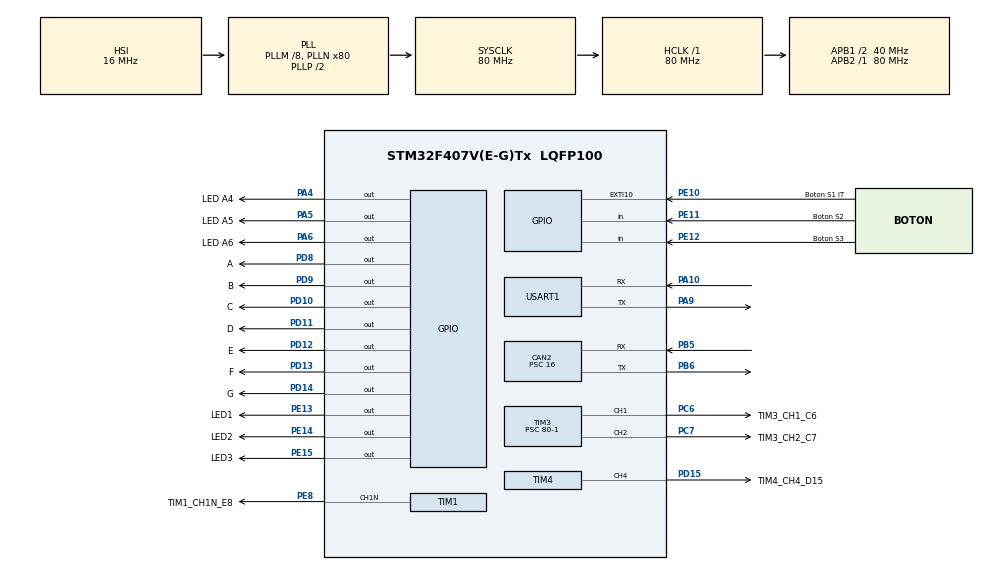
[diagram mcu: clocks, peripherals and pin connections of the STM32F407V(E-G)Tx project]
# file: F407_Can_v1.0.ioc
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CAN2.BS1=CAN_BS1_7TQ
CAN2.BS2=CAN_BS2_2TQ
CAN2.CalculateBaudRate=250000
CAN2.CalculateTimeBit=4000
CAN2.CalculateTimeQuantum=400.0
CAN2.Mode=CAN_MODE_NORMAL
CAN2.Prescaler=16
Mcu.Family=STM32F4
Mcu.Name=STM32F407V(E-G)Tx
Mcu.Package=LQFP100
NVIC.CAN2_RX0_IRQn=true\:0\:0\:false\:false\:true\:true\:true\:true
NVIC.EXTI15_10_IRQn=true\:1\:0\:true\:false\:true\:true\:true\:true
NVIC.PriorityGroup=NVIC_PRIORITYGROUP_4
NVIC.TIM8_TRG_COM_TIM14_IRQn=true\:0\:0\:false\:false\:true\:true\:true\:true
NVIC.TIM8_UP_TIM13_IRQn=true\:0\:0\:false\:false\:true\:true\:true\:true
NVIC.USART1_IRQn=true\:0\:0\:false\:false\:true\:true\:true\:true
PA10.Mode=Asynchronous
PA10.Signal=USART1_RX
PA13.Mode=Serial_Wire
PA13.Signal=SYS_JTMS-SWDIO
PA14.Mode=Serial_Wire
PA14.Signal=SYS_JTCK-SWCLK
PA4.GPIO_Label=LED A4
PA4.GPIO_PuPd=GPIO_PULLUP
PA4.Signal=GPIO_Output
PA5.GPIO_Label=LED A5
PA5.GPIO_PuPd=GPIO_PULLUP
PA5.Signal=GPIO_Output
PA6.GPIO_Label=LED A6
PA6.GPIO_PuPd=GPIO_PULLUP
PA6.Signal=GPIO_Output
PA9.Mode=Asynchronous
PA9.Signal=USART1_TX
PB5.Mode=CAN_Activate
PB5.Signal=CAN2_RX
PB6.Mode=CAN_Activate
PB6.Signal=CAN2_TX
PC6.GPIO_Label=TIM3_CH1_C6
PC6.Signal=S_TIM3_CH1
PC7.GPIO_Label=TIM3_CH2_C7
PC7.Signal=S_TIM3_CH2
PD10.GPIO_Label=C
PD10.GPIO_PuPd=GPIO_PULLDOWN
PD10.PinState=GPIO_PIN_SET
PD10.Signal=GPIO_Output
PD11.GPIO_Label=D
PD11.GPIO_PuPd=GPIO_PULLDOWN
PD11.PinState=GPIO_PIN_SET
PD11.Signal=GPIO_Output
PD12.GPIO_Label=E
PD12.GPIO_PuPd=GPIO_PULLDOWN
PD12.PinState=GPIO_PIN_SET
PD12.Signal=GPIO_Output
PD13.GPIO_Label=F
PD13.GPIO_ModeDefaultOutputPP=GPIO_MODE_OUTPUT_PP
PD13.GPIO_PuPd=GPIO_PULLDOWN
PD13.PinState=GPIO_PIN_SET
PD13.Signal=GPIO_Output
PD14.GPIO_Label=G
PD14.GPIO_PuPd=GPIO_PULLDOWN
PD14.PinState=GPIO_PIN_SET
PD14.Signal=GPIO_Output
PD15.GPIO_Label=TIM4_CH4_D15
PD15.Signal=S_TIM4_CH4
PD8.GPIO_Label=A
PD8.GPIO_ModeDefaultOutputPP=GPIO_MODE_OUTPUT_PP
PD8.GPIO_PuPd=GPIO_PULLUP
PD8.PinState=GPIO_PIN_RESET
PD8.Signal=GPIO_Output
PD9.GPIO_Label=B
PD9.GPIO_PuPd=GPIO_PULLUP
PD9.PinState=GPIO_PIN_RESET
PD9.Signal=GPIO_Output
PE10.GPIO_Label=Boton S1 IT
PE10.GPIO_ModeDefaultEXTI=GPIO_MODE_IT_FALLING
PE10.Signal=GPXTI10
PE11.GPIO_Label=Boton S2
PE11.Signal=GPIO_Input
PE12.GPIO_Label=Boton S3
PE12.Signal=GPIO_Input
PE13.GPIO_Label=LED1
PE13.GPIO_PuPd=GPIO_PULLUP
PE13.PinState=GPIO_PIN_RESET
PE13.Signal=GPIO_Output
PE14.GPIO_Label=LED2
PE14.GPIO_PuPd=GPIO_PULLUP
PE14.Signal=GPIO_Output
PE15.GPIO_Label=LED3
PE15.GPIO_PuPd=GPIO_PULLUP
PE15.Signal=GPIO_Output
PE8.GPIO_Label=TIM1_CH1N_E8
PE8.Mode=PWM Generation1 CH1N
PE8.Signal=TIM1_CH1N
ProjectManager.HeapSize=0x200
ProjectManager.StackSize=0x400
ProjectManager.TargetToolchain=STM32CubeIDE
RCC.48MHZClocksFreq_Value=40000000
RCC.AHBFreq_Value=80000000
RCC.APB1CLKDivider=RCC_HCLK_DIV2
RCC.APB1Freq_Value=40000000
RCC.APB1TimFreq_Value=80000000
RCC.APB2Freq_Value=80000000
RCC.APB2TimFreq_Value=80000000
RCC.CortexFreq_Value=80000000
RCC.HCLKFreq_Value=80000000
RCC.HSE_VALUE=25000000
RCC.HSI_VALUE=16000000
RCC.LSE_VALUE=32768
RCC.PLLM=8
RCC.PLLN=80
RCC.SYSCLKFreq_VALUE=80000000
RCC.SYSCLKSource=RCC_SYSCLKSOURCE_PLLCLK
RCC.VCOOutputFreq_Value=160000000
SH.S_TIM3_CH1.0=TIM3_CH1,PWM Generation1 CH1
SH.S_TIM3_CH2.0=TIM3_CH2,PWM Generation2 CH2
SH.S_TIM4_CH4.0=TIM4_CH4,PWM Generation4 CH4
TIM1.Channel-PWM\ Generation1\ CH1N=TIM_CHANNEL_1
TIM1.Period=1000-1
TIM1.Prescaler=80-1
TIM13.Period=10000
TIM13.Prescaler=8000-1
TIM14.Period=5000
TIM14.Prescaler=8000-1
TIM3.Channel-PWM\ Generation1\ CH1=TIM_CHANNEL_1
TIM3.Channel-PWM\ Generation2\ CH2=TIM_CHANNEL_2
TIM3.Period=1000-1
TIM3.Prescaler=80-1
TIM4.Channel-PWM\ Generation4\ CH4=TIM_CHANNEL_4
TIM4.Period=1000-1
TIM4.Prescaler=80-1
USART1.VirtualMode=VM_ASYNC
VP_TIM13_VS_ClockSourceINT.Mode=Enable_Timer
VP_TIM14_VS_ClockSourceINT.Mode=Enable_Timer
VP_TIM1_VS_ClockSourceINT.Mode=Internal
VP_TIM3_VS_ClockSourceINT.Mode=Internal
VP_TIM4_VS_ClockSourceINT.Mode=Internal
board=custom

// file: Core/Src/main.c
/* USER CODE BEGIN Header */
/**
  ******************************************************************************
  * @file           : main.c
  * @brief          : Main program body
  ******************************************************************************
  * @attention
  *
  * Copyright (c) 2024 STMicroelectronics.
  * All rights reserved.
  *
  * This software is licensed under terms that can be found in the LICENSE file
  * in the root directory of this software component.
  * If no LICENSE file comes with this software, it is provided AS-IS.
  *
  ******************************************************************************
  */
/* USER CODE END Header */
#include "main.h"

/* USER CODE BEGIN Includes */
#include "stdio.h"
#include "string.h"
/* USER CODE END Includes */

CAN_HandleTypeDef hcan2;

TIM_HandleTypeDef htim1;
TIM_HandleTypeDef htim3;
TIM_HandleTypeDef htim4;
TIM_HandleTypeDef htim13;
TIM_HandleTypeDef htim14;

UART_HandleTypeDef huart1;

/* USER CODE BEGIN PV */
uint8_t serial [16] = "\n Hola Mundo!! \r";
uint8_t UsartRxData [4] ;
uint8_t InterrupcionUsart [21] = "\nInterrupcion Masiva\r";
uint8_t contartoggle = 0;
char BufferEnvio [60];

//Cosas CAN
CAN_RxHeaderTypeDef CanRxHeader;
CAN_TxHeaderTypeDef canTxHeader;

uint8_t canReadData [8];
uint8_t canRxData [8];
uint8_t canTxData [8];
uint32_t canListTxData [8] =
		{
				0x00001,
				0x00002,
				0xe5001
		};

uint32_t canTxMailbox;
uint8_t canenviado [18] = "\nSe envio Msg CAN\r";
uint8_t CanError [27] = "\nNo se pudo enviar mensaje\r";
//char serial_test [60] = {"h","o","l","a"} //,0xff, 0xfa, 0x98, 0xff};

void HAL_CAN_RxFifo0MsgPendingCallback(CAN_HandleTypeDef *hcan)
	{
		HAL_CAN_GetRxMessage(hcan, CAN_RX_FIFO0, &CanRxHeader, canRxData);
		HAL_GPIO_TogglePin(LED1_GPIO_Port, LED1_Pin);

		// Mando el mensaje can por RS332
		/*sprintf(BufferEnvio, " PGN Recibido: Datos: %lX %X %X %X %X %X %X %X %X\r",
					  CanRxHeader.ExtId,
					  canRxData[0],
					  canRxData[1],
					  canRxData[2],
					  canRxData[3],
					  canRxData[4],
					  canRxData[5],
					  canRxData[6],
					  canRxData[7]); */
	}

/* USER CODE END PV */

void SystemClock_Config(void);
static void MX_GPIO_Init(void);
static void MX_USART1_UART_Init(void);
static void MX_CAN2_Init(void);
static void MX_TIM13_Init(void);
static void MX_TIM14_Init(void);
static void MX_TIM1_Init(void);
static void MX_TIM3_Init(void);
static void MX_TIM4_Init(void);

int main(void)
{

  /* MCU Configuration--------------------------------------------------------*/

  /* Reset of all peripherals, Initializes the Flash interface and the Systick. */
  HAL_Init();

  /* Configure the system clock */
  SystemClock_Config();

  /* Initialize all configured peripherals */
  MX_GPIO_Init();
  MX_USART1_UART_Init();
  MX_CAN2_Init();
  MX_TIM13_Init();
  MX_TIM14_Init();
  MX_TIM1_Init();
  MX_TIM3_Init();
  MX_TIM4_Init();
  /* USER CODE BEGIN 2 */
  HAL_CAN_Start(&hcan2);  // segun yo 	 agregue
  HAL_CAN_ActivateNotification(&hcan2, CAN_IT_RX_FIFO0_MSG_PENDING); // esta IT llama al callback
  HAL_UART_Receive_IT(&huart1, UsartRxData, sizeof(UsartRxData));

  //timmer
  HAL_TIM_Base_Start_IT(&htim13);
  HAL_TIM_Base_Start_IT(&htim14); // iniciamos el timer

  /* USER CODE END 2 */

  /* Infinite loop */
  /* USER CODE BEGIN WHILE */

  /*
  canRxData [0] = 0x10;
  canRxData [1] = 0xb8;
  canRxData [2] = 0xa2;
  canRxData [3] = 0x01;

  canRxData [4] = 0xff;
  canRxData [5] = 0xff;
  canRxData [6] = 0xff;
  canRxData [7] = 0xff;
  */

	HAL_GPIO_WritePin(LED_A4_GPIO_Port, LED_A4_Pin, GPIO_PIN_SET);
	HAL_GPIO_WritePin(LED_A5_GPIO_Port, LED_A5_Pin, GPIO_PIN_SET);
	HAL_GPIO_WritePin(LED_A6_GPIO_Port, LED_A6_Pin, GPIO_PIN_SET);

	uint8_t contador_display = 0;
	uint8_t display[10] = {0x3F, 0x06, 0x5B, 0x4F, 0x66, 0x6D, 0x7D, 0x07, 0x7F, 0x6F};

	void DisplayPort(uint8_t patron){

		    HAL_GPIO_WritePin(GPIOD, A_Pin, (((patron & 0x01) >> 0) & 0x01));
		    HAL_GPIO_WritePin(GPIOD, B_Pin, (((patron & 0x02) >> 1) & 0x01));
		    HAL_GPIO_WritePin(GPIOD, C_Pin, (((patron & 0x04) >> 2) & 0x01));
		    HAL_GPIO_WritePin(GPIOD, D_Pin, (((patron & 0x08) >> 3) & 0x01));
		    HAL_GPIO_WritePin(GPIOD, E_Pin, (((patron & 0x10) >> 4) & 0x01));
		    HAL_GPIO_WritePin(GPIOD, F_Pin, (((patron & 0x20) >> 5) & 0x01));
		    HAL_GPIO_WritePin(GPIOD, G_Pin, (((patron & 0x40) >> 6) & 0x01));
	}

	// PWM
	HAL_TIM_PWM_Start(&htim1, TIM_CHANNEL_1);  // Inicia el PWM // Inicia el canal principal
	HAL_TIM_PWM_Start(&htim3, TIM_CHANNEL_1);
	HAL_TIM_PWM_Start(&htim3, TIM_CHANNEL_2);
	HAL_TIM_PWM_Start(&htim4, TIM_CHANNEL_4);

	HAL_TIMEx_PWMN_Start(&htim1, TIM_CHANNEL_1); // Inicia el canal complementario

	uint32_t dutyCycle = 100;

	// Definiciones de pines RGB
	#define RED_PWM_PIN    TIM4_CH4_D15_Pin   	// Ejemplo: PE7
	#define GREEN_PWM_PIN  TIM3_CH1_C6_Pin  	// Ejemplo: PE8
	#define BLUE_PWM_PIN   TIM3_CH2_C7_Pin  	// Ejemplo: PB10
	int r = 100;
	int g = 200;
	int b = 100;

  while (1)
  {
	  // PWM

	  //funcional
	  /*__HAL_TIM_SET_COMPARE(&htim1, TIM_CHANNEL_1, dutyCycle);
	      // Puedes cambiar el valor de dutyCycle para ajustar el brillo del LED
	  HAL_Delay(500); // Pequeño retardo para evitar cambios bruscos
	  dutyCycle = 800;*/

	  	  for (int i = 0; i <= 1000; i += 10)
	      {
	        __HAL_TIM_SET_COMPARE(&htim1, TIM_CHANNEL_1, i);  // Ajusta el brillo
	        HAL_Delay(10);  // Pequeño retardo para ver el efecto
	      }

	      for (int i = 1000; i >= 0; i -= 10)
	      {
	        __HAL_TIM_SET_COMPARE(&htim1, TIM_CHANNEL_1, i);  // Ajusta el brillo
	        HAL_Delay(10);  // Pequeño retardo para ver el efecto
	      }

	  // PWM RGB

	      // Mapear valores RGB a PWM
	__HAL_TIM_SET_COMPARE(&htim3, TIM_CHANNEL_1, r);    // Rojo
	__HAL_TIM_SET_COMPARE(&htim3, TIM_CHANNEL_2, g);  // Verde
	__HAL_TIM_SET_COMPARE(&htim4, TIM_CHANNEL_4, b);   // Azul

	  // Diplay - Funcional ASC
	  // DisplayPort(display[contador_display]);
	  contador_display ++;
	  if (contador_display > 9){
		  contador_display = 0;
	  }

	  // trama de datos

	  canTxData [0] = 0x26;
	  canTxData [1] = 0x5C;
	  canTxData [2] = 0x03;
	  canTxData [3] = 0x00;
	  canTxData [4] = 0xff;
	  canTxData [5] = 0xff;
	  canTxData [6] = 0xff;
	  canTxData [7] = 0xff;

	  // Leds encendido apagado

	  //HAL_GPIO_TogglePin(LED1_GPIO_Port, LED1_Pin);
	  HAL_GPIO_TogglePin(LED2_GPIO_Port, LED2_Pin);
	  //HAL_GPIO_TogglePin(LED3_GPIO_Port, LED3_Pin);
	  //HAL_GPIO_TogglePin(LED_E7_GPIO_Port, LED_E7_Pin);
	  //HAL_GPIO_TogglePin(GPIOE, LED_E8_Pin);

	  //Boton S2
	  if (HAL_GPIO_ReadPin(Boton_S2_GPIO_Port, Boton_S2_Pin))
	  {
		  HAL_GPIO_TogglePin(LED1_GPIO_Port, LED1_Pin);
		  //HAL_GPIO_TogglePin(LED_A5_GPIO_Port, LED_A5_Pin);
		  //HAL_GPIO_WritePin(A_GPIO_Port, A_Pin, RESET);
		  //HAL_GPIO_WritePin(B_GPIO_Port, B_Pin, SET);
	  }

	  //USART
	  //HAL_UART_Transmit(&huart1, (char*)contartoggle, sizeof(contartoggle), 300);
	  //HAL_UART_Transmit(&huart1, serial, sizeof(serial), 300);
	  HAL_UART_Transmit(&huart1, (uint8_t*)0x98, 16, HAL_MAX_DELAY);

	  // convierto variable entero en texto // (char que recibe, "texto", Variable que convertimos en %d)
	  //sprintf(BufferEnvio, "\n Contar: %d\r", contartoggle);
	  //HAL_UART_Transmit (&huart1, (uint8_t*)BufferEnvio, strlen(BufferEnvio), HAL_MAX_DELAY); // sizeof(BufferLectura) = es si funcion no tambien

	  // envio de un byte
	  //sprintf(BufferEnvio, "\n El Byte 0 es: %X %X\r", canRxData[0],canRxData[1]); //%d convierte hex a Dec
	  //HAL_UART_Transmit (&huart1, (uint8_t*)BufferEnvio, strlen(BufferEnvio), HAL_MAX_DELAY); // sizeof(BufferLectura) = es si funcion no tambien

	  //Enviar CAN Si funciono.

	  HAL_CAN_AddTxMessage(&hcan2, &canTxHeader, canTxData, &canTxMailbox);

	  // Revisar si el conteo mensaje se envio
	  uint8_t ContarIntentoCan = 0;
	  while (HAL_CAN_IsTxMessagePending(&hcan2, canTxMailbox)) // si ya no hay mensajes pendientes se ejecuta el while
	  	  {
	  	  	  HAL_UART_Transmit (&huart1, canenviado, sizeof(canenviado), 300);
	  		  //HAL_Delay(300);

	  		  if (ContarIntentoCan == 3)
	  		  {
	  			  HAL_UART_Transmit (&huart1, CanError, sizeof(CanError), 300);
	  			  break;
	  		  }
	  		ContarIntentoCan++;
	  	  }

	  // Leer CAN, no ha funcionado

	  //HAL_CAN_GetRxMessage(&hcan1, canReadMailbox, &CANRxHeader, canReadData); // yo
	  //HAL_CAN_GetRxMessage(&hcan1, CAN_RX_FIFO0, &CANRxHeader, canReadData); // Video British lo leido se guarda en RxData

	  // Envio Lo que lei en can

	  /*  //mostrar solo data.
	  sprintf(BufferEnvio, "\n\n MSM CAN es: %X %X %X %X\r", canRxData[0],canRxData[1],canRxData[2],canRxData[3]); //%d convierte hex a Dec
	  HAL_UART_Transmit (&huart1, (uint8_t*)BufferEnvio, strlen(BufferEnvio), HAL_MAX_DELAY); // sizeof(BufferLectura) = es si funcion no tambien
	  */

	  sprintf(BufferEnvio, " El PGN Enviado: %lX ", canTxHeader.ExtId); //%d convierte hex a Dec
	  //HAL_UART_Transmit (&huart1, (uint8_t*)BufferEnvio, strlen(BufferEnvio), HAL_MAX_DELAY);

	  sprintf(BufferEnvio, " PGN Recibido: Datos: %lX %X %X %X %X %X %X %X %X\r",
			  CanRxHeader.ExtId,
			  canRxData[0],
			  canRxData[1],
			  canRxData[2],
			  canRxData[3],
			  canRxData[4],
			  canRxData[5],
			  canRxData[6],
			  canRxData[7]);

	  	  	  	  canRxData[0] = 0;
	  			  canRxData[1] = 0;
	  			  canRxData[2] = 0;
	  			  canRxData[3] = 0;
	  			  canRxData[4] = 0;
	  			  canRxData[5] = 0;
	  			  canRxData[6] = 0;
	  			  canRxData[7] = 0;

	  //HAL_UART_Transmit (&huart1, (uint8_t*)BufferEnvio, strlen(BufferEnvio), HAL_MAX_DELAY);

	  HAL_Delay(500);
	  contartoggle ++;

	  // ######## Envio de varios can

    /* USER CODE END WHILE */

  }
}

void SystemClock_Config(void)
{
  RCC_OscInitTypeDef RCC_OscInitStruct = {0};
  RCC_ClkInitTypeDef RCC_ClkInitStruct = {0};

  /** Configure the main internal regulator output voltage
  */
  __HAL_RCC_PWR_CLK_ENABLE();
  __HAL_PWR_VOLTAGESCALING_CONFIG(PWR_REGULATOR_VOLTAGE_SCALE1);

  /** Initializes the RCC Oscillators according to the specified parameters
  * in the RCC_OscInitTypeDef structure.
  */
  RCC_OscInitStruct.OscillatorType = RCC_OSCILLATORTYPE_HSI;
  RCC_OscInitStruct.HSIState = RCC_HSI_ON;
  RCC_OscInitStruct.HSICalibrationValue = RCC_HSICALIBRATION_DEFAULT;
  RCC_OscInitStruct.PLL.PLLState = RCC_PLL_ON;
  RCC_OscInitStruct.PLL.PLLSource = RCC_PLLSOURCE_HSI;
  RCC_OscInitStruct.PLL.PLLM = 8;
  RCC_OscInitStruct.PLL.PLLN = 80;
  RCC_OscInitStruct.PLL.PLLP = RCC_PLLP_DIV2;
  RCC_OscInitStruct.PLL.PLLQ = 4;
  if (HAL_RCC_OscConfig(&RCC_OscInitStruct) != HAL_OK)
  {
    Error_Handler();
  }

  /** Initializes the CPU, AHB and APB buses clocks
  */
  RCC_ClkInitStruct.ClockType = RCC_CLOCKTYPE_HCLK|RCC_CLOCKTYPE_SYSCLK
                              |RCC_CLOCKTYPE_PCLK1|RCC_CLOCKTYPE_PCLK2;
  RCC_ClkInitStruct.SYSCLKSource = RCC_SYSCLKSOURCE_PLLCLK;
  RCC_ClkInitStruct.AHBCLKDivider = RCC_SYSCLK_DIV1;
  RCC_ClkInitStruct.APB1CLKDivider = RCC_HCLK_DIV2;
  RCC_ClkInitStruct.APB2CLKDivider = RCC_HCLK_DIV1;

  if (HAL_RCC_ClockConfig(&RCC_ClkInitStruct, FLASH_LATENCY_2) != HAL_OK)
  {
    Error_Handler();
  }
}

static void MX_CAN2_Init(void)
{

  hcan2.Instance = CAN2;
  hcan2.Init.Prescaler = 16;
  hcan2.Init.Mode = CAN_MODE_NORMAL;
  hcan2.Init.SyncJumpWidth = CAN_SJW_1TQ;
  hcan2.Init.TimeSeg1 = CAN_BS1_7TQ;
  hcan2.Init.TimeSeg2 = CAN_BS2_2TQ;
  hcan2.Init.TimeTriggeredMode = DISABLE;
  hcan2.Init.AutoBusOff = DISABLE;
  hcan2.Init.AutoWakeUp = DISABLE;
  hcan2.Init.AutoRetransmission = DISABLE;
  hcan2.Init.ReceiveFifoLocked = DISABLE;
  hcan2.Init.TransmitFifoPriority = DISABLE;
  if (HAL_CAN_Init(&hcan2) != HAL_OK)
  {
    Error_Handler();
  }
  /* USER CODE BEGIN CAN2_Init 2 */

    // ####### Trama de datos FULL HD
    canTxHeader.DLC = 0x08;
    //canTxHeader.ExtId = 0x18fee000; //temp aceite
    canTxHeader.ExtId = 0x18fec100; // Odometro HR.
    canTxHeader.IDE = CAN_ID_EXT;
    canTxHeader.RTR = CAN_RTR_DATA;
    //canTxHeader.StdId = 0x00; // lo comento
    canTxHeader.TransmitGlobalTime = DISABLE;

    // ####### Configutacion del filtro.
    CAN_FilterTypeDef canfilterconfig;

    canfilterconfig.FilterActivation = CAN_FILTER_ENABLE;
    canfilterconfig.FilterBank = 10;  //  ver si es de can2
    canfilterconfig.FilterFIFOAssignment = CAN_RX_FIFO0; //ver si este es para CAN2
    canfilterconfig.FilterIdHigh =0;
    canfilterconfig.FilterIdLow =0x0000;
    canfilterconfig.FilterMaskIdHigh = 0;
    canfilterconfig.FilterMaskIdLow = 0x0000;
    canfilterconfig.FilterMode = CAN_FILTERMODE_IDMASK;
    canfilterconfig.FilterScale = CAN_FILTERSCALE_32BIT;
    canfilterconfig.SlaveStartFilterBank =0; // ver si es de can2

    HAL_CAN_ConfigFilter(&hcan2, &canfilterconfig); //asigno el filtro a la funcion.

  /* USER CODE END CAN2_Init 2 */

}

static void MX_TIM1_Init(void)
{

  TIM_ClockConfigTypeDef sClockSourceConfig = {0};
  TIM_MasterConfigTypeDef sMasterConfig = {0};
  TIM_OC_InitTypeDef sConfigOC = {0};
  TIM_BreakDeadTimeConfigTypeDef sBreakDeadTimeConfig = {0};

  htim1.Instance = TIM1;
  htim1.Init.Prescaler = 80-1;
  htim1.Init.CounterMode = TIM_COUNTERMODE_UP;
  htim1.Init.Period = 1000-1;
  htim1.Init.ClockDivision = TIM_CLOCKDIVISION_DIV1;
  htim1.Init.RepetitionCounter = 0;
  htim1.Init.AutoReloadPreload = TIM_AUTORELOAD_PRELOAD_DISABLE;
  if (HAL_TIM_Base_Init(&htim1) != HAL_OK)
  {
    Error_Handler();
  }
  sClockSourceConfig.ClockSource = TIM_CLOCKSOURCE_INTERNAL;
  if (HAL_TIM_ConfigClockSource(&htim1, &sClockSourceConfig) != HAL_OK)
  {
    Error_Handler();
  }
  if (HAL_TIM_PWM_Init(&htim1) != HAL_OK)
  {
    Error_Handler();
  }
  sMasterConfig.MasterOutputTrigger = TIM_TRGO_RESET;
  sMasterConfig.MasterSlaveMode = TIM_MASTERSLAVEMODE_DISABLE;
  if (HAL_TIMEx_MasterConfigSynchronization(&htim1, &sMasterConfig) != HAL_OK)
  {
    Error_Handler();
  }
  sConfigOC.OCMode = TIM_OCMODE_PWM1;
  sConfigOC.Pulse = 0;
  sConfigOC.OCPolarity = TIM_OCPOLARITY_HIGH;
  sConfigOC.OCNPolarity = TIM_OCNPOLARITY_HIGH;
  sConfigOC.OCFastMode = TIM_OCFAST_DISABLE;
  sConfigOC.OCIdleState = TIM_OCIDLESTATE_RESET;
  sConfigOC.OCNIdleState = TIM_OCNIDLESTATE_RESET;
  if (HAL_TIM_PWM_ConfigChannel(&htim1, &sConfigOC, TIM_CHANNEL_1) != HAL_OK)
  {
    Error_Handler();
  }
  sBreakDeadTimeConfig.OffStateRunMode = TIM_OSSR_DISABLE;
  sBreakDeadTimeConfig.OffStateIDLEMode = TIM_OSSI_DISABLE;
  sBreakDeadTimeConfig.LockLevel = TIM_LOCKLEVEL_OFF;
  sBreakDeadTimeConfig.DeadTime = 0;
  sBreakDeadTimeConfig.BreakState = TIM_BREAK_DISABLE;
  sBreakDeadTimeConfig.BreakPolarity = TIM_BREAKPOLARITY_HIGH;
  sBreakDeadTimeConfig.AutomaticOutput = TIM_AUTOMATICOUTPUT_DISABLE;
  if (HAL_TIMEx_ConfigBreakDeadTime(&htim1, &sBreakDeadTimeConfig) != HAL_OK)
  {
    Error_Handler();
  }
  HAL_TIM_MspPostInit(&htim1);

}

static void MX_TIM3_Init(void)
{

  TIM_ClockConfigTypeDef sClockSourceConfig = {0};
  TIM_MasterConfigTypeDef sMasterConfig = {0};
  TIM_OC_InitTypeDef sConfigOC = {0};

  htim3.Instance = TIM3;
  htim3.Init.Prescaler = 80-1;
  htim3.Init.CounterMode = TIM_COUNTERMODE_UP;
  htim3.Init.Period = 1000-1;
  htim3.Init.ClockDivision = TIM_CLOCKDIVISION_DIV1;
  htim3.Init.AutoReloadPreload = TIM_AUTORELOAD_PRELOAD_DISABLE;
  if (HAL_TIM_Base_Init(&htim3) != HAL_OK)
  {
    Error_Handler();
  }
  sClockSourceConfig.ClockSource = TIM_CLOCKSOURCE_INTERNAL;
  if (HAL_TIM_ConfigClockSource(&htim3, &sClockSourceConfig) != HAL_OK)
  {
    Error_Handler();
  }
  if (HAL_TIM_PWM_Init(&htim3) != HAL_OK)
  {
    Error_Handler();
  }
  sMasterConfig.MasterOutputTrigger = TIM_TRGO_RESET;
  sMasterConfig.MasterSlaveMode = TIM_MASTERSLAVEMODE_DISABLE;
  if (HAL_TIMEx_MasterConfigSynchronization(&htim3, &sMasterConfig) != HAL_OK)
  {
    Error_Handler();
  }
  sConfigOC.OCMode = TIM_OCMODE_PWM1;
  sConfigOC.Pulse = 0;
  sConfigOC.OCPolarity = TIM_OCPOLARITY_HIGH;
  sConfigOC.OCFastMode = TIM_OCFAST_DISABLE;
  if (HAL_TIM_PWM_ConfigChannel(&htim3, &sConfigOC, TIM_CHANNEL_1) != HAL_OK)
  {
    Error_Handler();
  }
  if (HAL_TIM_PWM_ConfigChannel(&htim3, &sConfigOC, TIM_CHANNEL_2) != HAL_OK)
  {
    Error_Handler();
  }
  HAL_TIM_MspPostInit(&htim3);

}

static void MX_TIM4_Init(void)
{

  TIM_ClockConfigTypeDef sClockSourceConfig = {0};
  TIM_MasterConfigTypeDef sMasterConfig = {0};
  TIM_OC_InitTypeDef sConfigOC = {0};

  htim4.Instance = TIM4;
  htim4.Init.Prescaler = 80-1;
  htim4.Init.CounterMode = TIM_COUNTERMODE_UP;
  htim4.Init.Period = 1000-1;
  htim4.Init.ClockDivision = TIM_CLOCKDIVISION_DIV1;
  htim4.Init.AutoReloadPreload = TIM_AUTORELOAD_PRELOAD_DISABLE;
  if (HAL_TIM_Base_Init(&htim4) != HAL_OK)
  {
    Error_Handler();
  }
  sClockSourceConfig.ClockSource = TIM_CLOCKSOURCE_INTERNAL;
  if (HAL_TIM_ConfigClockSource(&htim4, &sClockSourceConfig) != HAL_OK)
  {
    Error_Handler();
  }
  if (HAL_TIM_PWM_Init(&htim4) != HAL_OK)
  {
    Error_Handler();
  }
  sMasterConfig.MasterOutputTrigger = TIM_TRGO_RESET;
  sMasterConfig.MasterSlaveMode = TIM_MASTERSLAVEMODE_DISABLE;
  if (HAL_TIMEx_MasterConfigSynchronization(&htim4, &sMasterConfig) != HAL_OK)
  {
    Error_Handler();
  }
  sConfigOC.OCMode = TIM_OCMODE_PWM1;
  sConfigOC.Pulse = 0;
  sConfigOC.OCPolarity = TIM_OCPOLARITY_HIGH;
  sConfigOC.OCFastMode = TIM_OCFAST_DISABLE;
  if (HAL_TIM_PWM_ConfigChannel(&htim4, &sConfigOC, TIM_CHANNEL_4) != HAL_OK)
  {
    Error_Handler();
  }
  HAL_TIM_MspPostInit(&htim4);

}

static void MX_TIM13_Init(void)
{

  htim13.Instance = TIM13;
  htim13.Init.Prescaler = 8000-1;
  htim13.Init.CounterMode = TIM_COUNTERMODE_UP;
  htim13.Init.Period = 10000;
  htim13.Init.ClockDivision = TIM_CLOCKDIVISION_DIV1;
  htim13.Init.AutoReloadPreload = TIM_AUTORELOAD_PRELOAD_DISABLE;
  if (HAL_TIM_Base_Init(&htim13) != HAL_OK)
  {
    Error_Handler();
  }

}

static void MX_TIM14_Init(void)
{

  htim14.Instance = TIM14;
  htim14.Init.Prescaler = 8000-1;
  htim14.Init.CounterMode = TIM_COUNTERMODE_UP;
  htim14.Init.Period = 5000;
  htim14.Init.ClockDivision = TIM_CLOCKDIVISION_DIV1;
  htim14.Init.AutoReloadPreload = TIM_AUTORELOAD_PRELOAD_DISABLE;
  if (HAL_TIM_Base_Init(&htim14) != HAL_OK)
  {
    Error_Handler();
  }

}

static void MX_USART1_UART_Init(void)
{

  huart1.Instance = USART1;
  huart1.Init.BaudRate = 115200;
  huart1.Init.WordLength = UART_WORDLENGTH_8B;
  huart1.Init.StopBits = UART_STOPBITS_1;
  huart1.Init.Parity = UART_PARITY_NONE;
  huart1.Init.Mode = UART_MODE_TX_RX;
  huart1.Init.HwFlowCtl = UART_HWCONTROL_NONE;
  huart1.Init.OverSampling = UART_OVERSAMPLING_16;
  if (HAL_UART_Init(&huart1) != HAL_OK)
  {
    Error_Handler();
  }

}

static void MX_GPIO_Init(void)
{
  GPIO_InitTypeDef GPIO_InitStruct = {0};

  /* GPIO Ports Clock Enable */
  __HAL_RCC_GPIOA_CLK_ENABLE();
  __HAL_RCC_GPIOE_CLK_ENABLE();
  __HAL_RCC_GPIOD_CLK_ENABLE();
  __HAL_RCC_GPIOC_CLK_ENABLE();
  __HAL_RCC_GPIOB_CLK_ENABLE();

  /*Configure GPIO pin Output Level */
  HAL_GPIO_WritePin(GPIOA, LED_A4_Pin|LED_A5_Pin|LED_A6_Pin, GPIO_PIN_RESET);

  /*Configure GPIO pin Output Level */
  HAL_GPIO_WritePin(GPIOE, LED1_Pin|LED2_Pin|LED3_Pin, GPIO_PIN_RESET);

  /*Configure GPIO pin Output Level */
  HAL_GPIO_WritePin(GPIOD, A_Pin|B_Pin, GPIO_PIN_RESET);

  /*Configure GPIO pin Output Level */
  HAL_GPIO_WritePin(GPIOD, C_Pin|D_Pin|E_Pin|F_Pin
                          |G_Pin, GPIO_PIN_SET);

  /*Configure GPIO pins : LED_A4_Pin LED_A5_Pin LED_A6_Pin */
  GPIO_InitStruct.Pin = LED_A4_Pin|LED_A5_Pin|LED_A6_Pin;
  GPIO_InitStruct.Mode = GPIO_MODE_OUTPUT_PP;
  GPIO_InitStruct.Pull = GPIO_PULLUP;
  GPIO_InitStruct.Speed = GPIO_SPEED_FREQ_LOW;
  HAL_GPIO_Init(GPIOA, &GPIO_InitStruct);

  /*Configure GPIO pin : Boton_S1_IT_Pin */
  GPIO_InitStruct.Pin = Boton_S1_IT_Pin;
  GPIO_InitStruct.Mode = GPIO_MODE_IT_FALLING;
  GPIO_InitStruct.Pull = GPIO_NOPULL;
  HAL_GPIO_Init(Boton_S1_IT_GPIO_Port, &GPIO_InitStruct);

  /*Configure GPIO pins : Boton_S2_Pin Boton_S3_Pin */
  GPIO_InitStruct.Pin = Boton_S2_Pin|Boton_S3_Pin;
  GPIO_InitStruct.Mode = GPIO_MODE_INPUT;
  GPIO_InitStruct.Pull = GPIO_NOPULL;
  HAL_GPIO_Init(GPIOE, &GPIO_InitStruct);

  /*Configure GPIO pins : LED1_Pin LED2_Pin LED3_Pin */
  GPIO_InitStruct.Pin = LED1_Pin|LED2_Pin|LED3_Pin;
  GPIO_InitStruct.Mode = GPIO_MODE_OUTPUT_PP;
  GPIO_InitStruct.Pull = GPIO_PULLUP;
  GPIO_InitStruct.Speed = GPIO_SPEED_FREQ_LOW;
  HAL_GPIO_Init(GPIOE, &GPIO_InitStruct);

  /*Configure GPIO pins : A_Pin B_Pin */
  GPIO_InitStruct.Pin = A_Pin|B_Pin;
  GPIO_InitStruct.Mode = GPIO_MODE_OUTPUT_PP;
  GPIO_InitStruct.Pull = GPIO_PULLUP;
  GPIO_InitStruct.Speed = GPIO_SPEED_FREQ_LOW;
  HAL_GPIO_Init(GPIOD, &GPIO_InitStruct);

  /*Configure GPIO pins : C_Pin D_Pin E_Pin F_Pin
                           G_Pin */
  GPIO_InitStruct.Pin = C_Pin|D_Pin|E_Pin|F_Pin
                          |G_Pin;
  GPIO_InitStruct.Mode = GPIO_MODE_OUTPUT_PP;
  GPIO_InitStruct.Pull = GPIO_PULLDOWN;
  GPIO_InitStruct.Speed = GPIO_SPEED_FREQ_LOW;
  HAL_GPIO_Init(GPIOD, &GPIO_InitStruct);

  /* EXTI interrupt init*/
  HAL_NVIC_SetPriority(EXTI15_10_IRQn, 1, 0);
  HAL_NVIC_EnableIRQ(EXTI15_10_IRQn);

}

/* USER CODE BEGIN 4 */

void HAL_UART_RxCpltCallback(UART_HandleTypeDef *huart)
{
  /* Prevent unused argument(s) compilation warning */
	HAL_UART_Transmit (&huart1, InterrupcionUsart, sizeof(InterrupcionUsart), HAL_MAX_DELAY);
	//HAL_UART_Receive_IT(&huart1, InterrupcionUsart, sizeof(InterrupcionUsart));
	HAL_UART_Receive_IT(&huart1, UsartRxData, sizeof(UsartRxData));
	//UsartRxData

}

// Tiempo de debounce en milisegundos
#define DEBOUNCE_TIME 50

volatile uint8_t FlagBotonPresionado = 0;
uint32_t lastInterruptTime = 0;
int contador_IT = 0;

void HAL_GPIO_EXTI_Callback(uint16_t GPIO_Pin)
{
	uint32_t currentTime = HAL_GetTick();

	//GPIOA->ODR=0B000000;

	// Verifica si tiempo transcurrido es mayor que tiempo de debounce
	if ((currentTime - lastInterruptTime) > DEBOUNCE_TIME) {

		if (GPIO_Pin == Boton_S1_IT_Pin)  // Asegurar que es el pin correcto
		{
			FlagBotonPresionado = 1;
			//HAL_GPIO_TogglePin(LED_A5_GPIO_Port, LED_A5_Pin);  // Ejemplo: Cambiar el estado de un LED
			if (contador_IT == 1)
			{
				HAL_GPIO_WritePin(LED_A4_GPIO_Port, LED_A4_Pin, GPIO_PIN_RESET);
			}
			if (contador_IT == 2)
			{
				HAL_GPIO_WritePin(LED_A5_GPIO_Port, LED_A5_Pin, GPIO_PIN_RESET);
			}
			if (contador_IT == 3)
			{
				HAL_GPIO_WritePin(LED_A5_GPIO_Port, LED_A5_Pin, GPIO_PIN_SET);
				HAL_GPIO_WritePin(LED_A6_GPIO_Port, LED_A6_Pin, GPIO_PIN_RESET);
			}
			if (contador_IT == 4)
			{
				HAL_GPIO_WritePin(LED_A4_GPIO_Port, LED_A4_Pin, GPIO_PIN_SET);
				HAL_GPIO_WritePin(LED_A5_GPIO_Port, LED_A5_Pin, GPIO_PIN_RESET);
			}
			if (contador_IT == 5)
			{
				HAL_GPIO_WritePin(LED_A6_GPIO_Port, LED_A6_Pin, GPIO_PIN_SET);
			}
			if (contador_IT == 6)
			{
				HAL_GPIO_WritePin(LED_A5_GPIO_Port, LED_A5_Pin, GPIO_PIN_SET);
				HAL_GPIO_WritePin(LED_A6_GPIO_Port, LED_A6_Pin, GPIO_PIN_RESET);
			}
			if (contador_IT >= 7)
			{
				HAL_GPIO_WritePin(LED_A4_GPIO_Port, LED_A4_Pin, GPIO_PIN_SET);
				HAL_GPIO_WritePin(LED_A5_GPIO_Port, LED_A5_Pin, GPIO_PIN_SET);
				HAL_GPIO_WritePin(LED_A6_GPIO_Port, LED_A6_Pin, GPIO_PIN_SET);
				contador_IT = 0;
			}
			contador_IT++;
		}
	}
	lastInterruptTime = currentTime;
}

/*
 * Interrupcion del timmer
 */
float banderatim = 0;
uint8_t contador_display_tim = 9;
uint8_t display[10] = {0x3F, 0x06, 0x5B, 0x4F, 0x66, 0x6D, 0x7D, 0x07, 0x7F, 0x6F};

void HAL_TIM_PeriodElapsedCallback(TIM_HandleTypeDef *htim)
{
	if (htim->Instance == TIM14) // aqui le indicamos que usamos el timmer 1 para no revolver timers
	{
		//HAL_GPIO_TogglePin(LedRojo_GPIO_Port, LedRojo_Pin);
		HAL_GPIO_TogglePin(LED3_GPIO_Port, LED3_Pin);

		/*HAL_GPIO_TogglePin(A_GPIO_Port, A_Pin);
		HAL_GPIO_TogglePin(B_GPIO_Port, B_Pin);*/

		DisplayPort(display[contador_display_tim]);

		if (contador_display_tim == 0){
			  contador_display_tim = 10;
		}
		contador_display_tim --;

		if (banderatim == 0){
			//GPIOD->ODR=0B0000000100000001;
			/*HAL_GPIO_WritePin(A_GPIO_Port, A_Pin, SET);
			HAL_GPIO_WritePin(B_GPIO_Port, B_Pin, SET);

			banderatim = 1;*/
		}
		if (banderatim == 1){
			//GPIOD->ODR=0B1111111011111110;
/*
			HAL_GPIO_WritePin(A_GPIO_Port, A_Pin, SET);
			HAL_GPIO_WritePin(B_GPIO_Port, B_Pin, SET);
			banderatim = 0;*/
		}

		/*
			HAL_GPIO_WritePin(DISPLAY_PORT, SEGMENT_A, (patron & 0x01) ? GPIO_PIN_SET : GPIO_PIN_RESET);
		    HAL_GPIO_WritePin(DISPLAY_PORT, SEGMENT_B, (patron & 0x02) ? GPIO_PIN_SET : GPIO_PIN_RESET);
		    HAL_GPIO_WritePin(DISPLAY_PORT, SEGMENT_C, (patron & 0x04) ? GPIO_PIN_SET : GPIO_PIN_RESET);
		    HAL_GPIO_WritePin(DISPLAY_PORT, SEGMENT_D, (patron & 0x08) ? GPIO_PIN_SET : GPIO_PIN_RESET);
		    HAL_GPIO_WritePin(DISPLAY_PORT, SEGMENT_E, (patron & 0x10) ? GPIO_PIN_SET : GPIO_PIN_RESET);
		    HAL_GPIO_WritePin(DISPLAY_PORT, SEGMENT_F, (patron & 0x20) ? GPIO_PIN_SET : GPIO_PIN_RESET);
		    HAL_GPIO_WritePin(DISPLAY_PORT, SEGMENT_G, (patron & 0x40) ? GPIO_PIN_SET : GPIO_PIN_RESET);
		    */
	}
}

void DisplayPort(uint8_t patron){

	    HAL_GPIO_WritePin(GPIOD, A_Pin, (((patron & 0x01) >> 0) & 0x01));
	    HAL_GPIO_WritePin(GPIOD, B_Pin, (((patron & 0x02) >> 1) & 0x01));
	    HAL_GPIO_WritePin(GPIOD, C_Pin, (((patron & 0x04) >> 2) & 0x01));
	    HAL_GPIO_WritePin(GPIOD, D_Pin, (((patron & 0x08) >> 3) & 0x01));
	    HAL_GPIO_WritePin(GPIOD, E_Pin, (((patron & 0x10) >> 4) & 0x01));
	    HAL_GPIO_WritePin(GPIOD, F_Pin, (((patron & 0x20) >> 5) & 0x01));
	    HAL_GPIO_WritePin(GPIOD, G_Pin, (((patron & 0x40) >> 6) & 0x01));
}

/* USER CODE END 4 */

void Error_Handler(void)
{
  __disable_irq();
  while (1)
  {
  }
}
